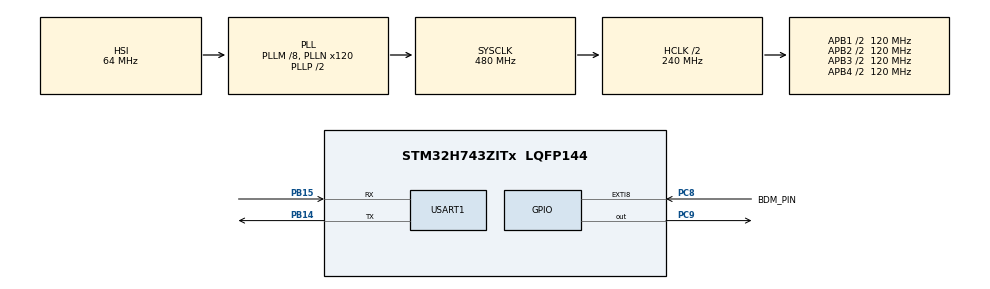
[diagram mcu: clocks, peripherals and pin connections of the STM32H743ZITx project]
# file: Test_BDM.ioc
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Dma.Request0=USART1_TX
Dma.USART1_TX.0.Direction=DMA_MEMORY_TO_PERIPH
Dma.USART1_TX.0.EventEnable=DISABLE
Dma.USART1_TX.0.FIFOMode=DMA_FIFOMODE_DISABLE
Dma.USART1_TX.0.Instance=DMA1_Stream0
Dma.USART1_TX.0.MemDataAlignment=DMA_MDATAALIGN_BYTE
Dma.USART1_TX.0.MemInc=DMA_MINC_ENABLE
Dma.USART1_TX.0.Mode=DMA_NORMAL
Dma.USART1_TX.0.PeriphDataAlignment=DMA_PDATAALIGN_BYTE
Dma.USART1_TX.0.PeriphInc=DMA_PINC_DISABLE
Dma.USART1_TX.0.Polarity=HAL_DMAMUX_REQ_GEN_RISING
Dma.USART1_TX.0.Priority=DMA_PRIORITY_LOW
Dma.USART1_TX.0.RequestNumber=1
Dma.USART1_TX.0.SignalID=NONE
Dma.USART1_TX.0.SyncEnable=DISABLE
Dma.USART1_TX.0.SyncPolarity=HAL_DMAMUX_SYNC_NO_EVENT
Dma.USART1_TX.0.SyncRequestNumber=1
Dma.USART1_TX.0.SyncSignalID=NONE
Mcu.Family=STM32H7
Mcu.Name=STM32H743ZITx
Mcu.Package=LQFP144
NVIC.DMA1_Stream0_IRQn=true\:0\:0\:false\:false\:true\:false\:true
NVIC.EXTI9_5_IRQn=true\:0\:0\:false\:false\:true\:true\:true
NVIC.PriorityGroup=NVIC_PRIORITYGROUP_4
NVIC.USART1_IRQn=true\:0\:0\:false\:false\:true\:true\:true
PA13\ (JTMS/SWDIO).Mode=Serial_Wire
PA13\ (JTMS/SWDIO).Signal=DEBUG_JTMS-SWDIO
PA14\ (JTCK/SWCLK).Mode=Serial_Wire
PA14\ (JTCK/SWCLK).Signal=DEBUG_JTCK-SWCLK
PB14.Mode=Asynchronous
PB14.Signal=USART1_TX
PB15.Mode=Asynchronous
PB15.Signal=USART1_RX
PC8.GPIO_Label=BDM_PIN
PC8.GPIO_ModeDefaultEXTI=GPIO_MODE_IT_RISING_FALLING
PC8.Signal=GPXTI8
PC9.GPIO_Speed=GPIO_SPEED_FREQ_VERY_HIGH
PC9.Signal=GPIO_Output
ProjectManager.HeapSize=0x200
ProjectManager.StackSize=0x400
ProjectManager.TargetToolchain=MDK-ARM V5.32
RCC.ADCFreq_Value=129000000
RCC.APB1Freq_Value=120000000
RCC.APB2Freq_Value=120000000
RCC.APB3Freq_Value=120000000
RCC.APB4Freq_Value=120000000
RCC.CortexFreq_Value=480000000
RCC.D1PPRE=RCC_APB3_DIV2
RCC.D2PPRE1=RCC_APB1_DIV2
RCC.D2PPRE2=RCC_APB2_DIV2
RCC.D3PPRE=RCC_APB4_DIV2
RCC.DIVM1=8
RCC.DIVN1=120
RCC.HCLKFreq_Value=240000000
RCC.HPRE=RCC_HCLK_DIV2
RCC.SYSCLKFreq_VALUE=480000000
RCC.SYSCLKSource=RCC_SYSCLKSOURCE_PLLCLK
RCC.USBFreq_Value=480000000
USART1.VirtualMode-Asynchronous=VM_ASYNC
VP_TIM2_VS_ClockSourceINT.Mode=Internal
board=custom

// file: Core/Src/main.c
/* USER CODE BEGIN Header */
/**
  ******************************************************************************
  * @file           : main.c
  * @brief          : Main program body
  ******************************************************************************
  * @attention
  *
  * <h2><center>&copy; Copyright (c) 2021 STMicroelectronics.
  * All rights reserved.</center></h2>
  *
  * This software component is licensed by ST under BSD 3-Clause license,
  * the "License"; You may not use this file except in compliance with the
  * License. You may obtain a copy of the License at:
  *                        opensource.org/licenses/BSD-3-Clause
  *
  ******************************************************************************
  */
/* USER CODE END Header */
#include "main.h"
#include "string.h"
#include "stdio.h"

/* USER CODE BEGIN PM */
volatile uint32_t bdm_ext[10] = {0};
volatile uint8_t enable_sync = 0;
volatile uint8_t bdm_wait_ack = 0;
volatile uint8_t bdm_wait_rx = 0;
volatile uint32_t bdm_wait_rx_time = 0;

volatile uint32_t sync_time_captured = 0;
volatile uint32_t delay_1TC, delay_4TC, delay_10TC, delay_12TC, delay_end;

uint8_t bdm_data[10] = {0};
volatile uint32_t temp[24];

uint8_t uart_tx_msg[20] = "Hello test Dien!\n";
/* USER CODE END PM */

TIM_HandleTypeDef htim2;

UART_HandleTypeDef huart1;
DMA_HandleTypeDef hdma_usart1_tx;

void SystemClock_Config(void);
static void MX_GPIO_Init(void);
static void MX_TIM2_Init(void);
static void MX_DMA_Init(void);
static void MX_USART1_UART_Init(void);

/* USER CODE BEGIN 0 */
void HAL_GPIO_EXTI_Callback(uint16_t GPIO_Pin)
{
  /* Prevent unused argument(s) compilation warning */
  UNUSED(GPIO_Pin);

  /* NOTE: This function Should not be modified, when the callback is needed,
           the HAL_GPIO_EXTI_Callback could be implemented in the user file
   */
	static uint8_t count = 0;

	if(enable_sync) {
		bdm_ext[count] = __HAL_TIM_GetCounter(&htim2);
		count++;

		if(count > 2) {
			sync_time_captured = bdm_ext[2] - bdm_ext[1];
//			sync_time_captured = sync_time_captured/128;
			delay_1TC = sync_time_captured / 128;
			delay_4TC = (sync_time_captured + 16) /32;
			delay_12TC = delay_4TC * 3;
			delay_10TC = delay_4TC * 5 /2;
			delay_end = sync_time_captured /8;
			enable_sync = 0;
			count = 0;
		}
	}
	if(bdm_wait_ack) {	//wait for ack
		if(HAL_GPIO_ReadPin(BDM_PIN_GPIO_Port, GPIO_PIN_8)) {
			bdm_wait_ack = 0;
		}
	}
	if(bdm_wait_rx) {
		bdm_wait_rx_time = __HAL_TIM_GetCounter(&htim2);
		bdm_wait_rx = 0;
	}
}

static __inline void delay4TC() {
	//reset counter
	__HAL_TIM_SetCounter(&htim2, 0);
	while(__HAL_TIM_GetCounter(&htim2) < delay_4TC);
}

static __inline void delay12TC() {
	//reset counter
	__HAL_TIM_SetCounter(&htim2, 0);
	while(__HAL_TIM_GetCounter(&htim2) < delay_12TC);
}

static __inline void delay1024TC() {
	//reset counter
	__HAL_TIM_SetCounter(&htim2, 0);
	while(__HAL_TIM_GetCounter(&htim2) < sync_time_captured * 8);
}

static __inline void bdm_pin_cfg_ext() {
//	GPIO_InitTypeDef GPIO_InitStruct = {0};
//	/*Configure GPIO pin : BDM_PIN_Pin */
//	GPIO_InitStruct.Pin = BDM_PIN_Pin;
//	GPIO_InitStruct.Mode = GPIO_MODE_IT_RISING_FALLING;
//	GPIO_InitStruct.Pull = GPIO_NOPULL;
//	HAL_GPIO_Init(BDM_PIN_GPIO_Port, &GPIO_InitStruct);
	GPIOC->MODER &= ~(1<<16); 		//PC8
	/* EXTI interrupt init*/
//	HAL_NVIC_SetPriority(EXTI9_5_IRQn, 0, 0);
//	HAL_NVIC_EnableIRQ(EXTI9_5_IRQn);
}

static __inline void bdm_pin_cfg_ext_rising() {
	GPIO_InitTypeDef GPIO_InitStruct = {0};
	/*Configure GPIO pin : BDM_PIN_Pin */
	GPIO_InitStruct.Pin = BDM_PIN_Pin;
	GPIO_InitStruct.Mode = GPIO_MODE_IT_RISING;
	GPIO_InitStruct.Pull = GPIO_NOPULL;
	HAL_GPIO_Init(BDM_PIN_GPIO_Port, &GPIO_InitStruct);

	/* EXTI interrupt init*/
	HAL_NVIC_SetPriority(EXTI9_5_IRQn, 0, 0);
	HAL_NVIC_EnableIRQ(EXTI9_5_IRQn);
}

static __inline void bdm_pin_cfg_highZ() {
//	HAL_GPIO_DeInit(BDM_PIN_GPIO_Port, BDM_PIN_Pin);
	GPIO_InitTypeDef GPIO_InitStruct = {0};
	GPIO_InitStruct.Pin = BDM_PIN_Pin;
	GPIO_InitStruct.Mode = GPIO_MODE_INPUT;
	GPIO_InitStruct.Pull = GPIO_NOPULL;
	HAL_GPIO_Init(BDM_PIN_GPIO_Port, &GPIO_InitStruct);
}

static __inline void bdm_pin_cfg_output() {
//	HAL_GPIO_WritePin(BDM_PIN_GPIO_Port, BDM_PIN_Pin, GPIO_PIN_SET);
//
//	GPIO_InitTypeDef GPIO_InitStruct = {0};
//	GPIO_InitStruct.Pin = BDM_PIN_Pin;
//	GPIO_InitStruct.Mode = GPIO_MODE_OUTPUT_PP;
//	GPIO_InitStruct.Pull = GPIO_NOPULL;
//	GPIO_InitStruct.Speed = GPIO_SPEED_FREQ_VERY_HIGH;
//	HAL_GPIO_Init(BDM_PIN_GPIO_Port, &GPIO_InitStruct);
//	HAL_NVIC_DisableIRQ(EXTI9_5_IRQn);
	GPIOC->MODER |= (1<<16); 		//PC8
	GPIOC->OTYPER &= ~(1<<8);
	GPIOC->OSPEEDR |= (3<<16);
}

static void bdm_sync(uint8_t sync_enable) {
	bdm_pin_cfg_output();
	//set low for 1ms
	HAL_GPIO_WritePin(BDM_PIN_GPIO_Port, BDM_PIN_Pin, GPIO_PIN_RESET);
	HAL_Delay(2);
	enable_sync = sync_enable;

	//reset counter
	__HAL_TIM_SetCounter(&htim2, 0);

	//tongle high
	HAL_GPIO_WritePin(BDM_PIN_GPIO_Port, BDM_PIN_Pin, GPIO_PIN_SET);
	//wait sync
	bdm_pin_cfg_ext();

	//wait sync success
	if(enable_sync)
		while(enable_sync);
	else
		HAL_Delay(1);
}

static __inline void bdm_tx_1() {
	//pull low
	HAL_GPIO_WritePin(BDM_PIN_GPIO_Port, BDM_PIN_Pin, GPIO_PIN_RESET);
	//reset counter
	__HAL_TIM_SetCounter(&htim2, 0);

	//delay 4 TC
	while(__HAL_TIM_GetCounter(&htim2) <= delay_4TC);

	//pull high
	HAL_GPIO_WritePin(BDM_PIN_GPIO_Port, BDM_PIN_Pin, GPIO_PIN_SET);

	//delay 12 TC
	while(__HAL_TIM_GetCounter(&htim2) <= delay_end);
}

static __inline void bdm_tx_0() {
	//pull low
	HAL_GPIO_WritePin(BDM_PIN_GPIO_Port, BDM_PIN_Pin, GPIO_PIN_RESET);
	//reset counter
	__HAL_TIM_SetCounter(&htim2, 0);

	//delay 12 TC
	while(__HAL_TIM_GetCounter(&htim2) <= delay_12TC);

	//pull high
	HAL_GPIO_WritePin(BDM_PIN_GPIO_Port, BDM_PIN_Pin, GPIO_PIN_SET);

	//delay 4 TC
	while(__HAL_TIM_GetCounter(&htim2) <= delay_end);
}

static __inline uint8_t bdm_rx() {/*Configure GPIO pin : PC9 */
	uint8_t ret = 0;
	//pull low
	//reset counter
	__HAL_TIM_SetCounter(&htim2, 0);

	bdm_pin_cfg_output();
	HAL_GPIO_WritePin(BDM_PIN_GPIO_Port, BDM_PIN_Pin, GPIO_PIN_RESET);

	//delay 4 TC
	while(__HAL_TIM_GetCounter(&htim2) <= delay_4TC);

	//test 1
	bdm_wait_rx = 1;
	bdm_pin_cfg_ext();
	while(bdm_wait_rx == 1);

	if(bdm_wait_rx_time < delay_12TC) {
		ret = 1;
	}

	//wait to end
	while(__HAL_TIM_GetCounter(&htim2) <= delay_end);

	return ret;
}

void bdm_send(uint8_t command, uint8_t ack) {
	/*Configure GPIO pin*/
	bdm_pin_cfg_output();

	for(uint8_t i=0; i<8; i++) {	//shift bit
		if(command & 0x80)
            bdm_tx_1();
        else
            bdm_tx_0();
        command = command << 1;
	}

	bdm_pin_cfg_ext();

	if(ack) {
		bdm_wait_ack = 1;
		while(bdm_wait_ack);
		//delay a bit
		__HAL_TIM_SetCounter(&htim2, 0);
		while(__HAL_TIM_GetCounter(&htim2) <= delay_end);
	}
}

void bdm_read(uint8_t *byte, uint8_t len) {
	memset(byte, 0, len);
	int x, i = 0;
	for(x = 0; x < len; x++) {
		for(i = 0; i <= 7; i++) {
			byte[x] |= (bdm_rx() << (7-i));
		}
	}
}

void bdm_soft_reset() {
	bdm_pin_cfg_output();
	//	HAL_GPIO_WritePin(BDM_PIN_GPIO_Port, BDM_PIN_Pin, GPIO_PIN_RESET);
	HAL_Delay(220);

	//tongle high
	HAL_GPIO_WritePin(BDM_PIN_GPIO_Port, BDM_PIN_Pin, GPIO_PIN_SET);

	//wait sync
	bdm_pin_cfg_ext();
	HAL_Delay(110);
}

void bdm_start() {
	bdm_sync(1);
	delay1024TC();
	bdm_send(0xD5, 1);	//ACK_ENABLE
	bdm_send(0xE4, 0);	//READ_BD_BYTE
	bdm_send(0xFF, 0);
	bdm_send(0x01, 1);
	bdm_read(bdm_data, 2);
	delay1024TC();

	if(bdm_data[1] == 0x80) {
		sprintf((char *)uart_tx_msg, "bdm_start ready\n");
		HAL_UART_Transmit(&huart1, uart_tx_msg, strlen((char *)uart_tx_msg), 1000);
		HAL_Delay(100);
	} else {
		sprintf((char *)uart_tx_msg, "bdm_start fail 0x%02X%02X\n", bdm_data[0], bdm_data[1]);
		HAL_UART_Transmit(&huart1, uart_tx_msg, strlen((char *)uart_tx_msg), 1000);
		HAL_Delay(100);
	}
}

void bdm_read_address(uint16_t address) {
	delay1024TC();
	bdm_send(0xD5, 1);	//ACK_ENABLE
	bdm_send(0xE8, 0);	//READ_BD_BYTE
	bdm_send(address >> 8, 0);
	bdm_send(address & 0xFF, 1);
	bdm_read(bdm_data, 2);
//	HAL_UART_Transmit_DMA(&huart1, bdm_data, 2);
}

/* USER CODE END 0 */

int main(void)
{

  /* MCU Configuration--------------------------------------------------------*/

  /* Reset of all peripherals, Initializes the Flash interface and the Systick. */
  HAL_Init();

  /* Configure the system clock */
  SystemClock_Config();

  /* USER CODE BEGIN SysInit */
	static uint16_t address = 0x00;
	static uint16_t address_e = 0xFFF0;
  /* USER CODE END SysInit */

  /* Initialize all configured peripherals */
  MX_GPIO_Init();
  MX_TIM2_Init();
  MX_DMA_Init();
  MX_USART1_UART_Init();
  /* USER CODE BEGIN 2 */
  HAL_TIM_Base_Start(&htim2);

	HAL_UART_Transmit(&huart1, uart_tx_msg, strlen((char *)uart_tx_msg), 100);
	HAL_Delay(10);

//	bdm_pin_reset();
	bdm_pin_cfg_output();
	//set low for 1ms
	HAL_GPIO_WritePin(BDM_PIN_GPIO_Port, BDM_PIN_Pin, GPIO_PIN_SET);
	HAL_Delay(1000);

	bdm_start();
	bdm_soft_reset();

	bdm_start();
	HAL_Delay(20);

	while(address <= address_e) {
		sprintf((char *)uart_tx_msg, "addr %04X: ", address);
		HAL_UART_Transmit(&huart1, uart_tx_msg, strlen((char *)uart_tx_msg), 1000);
		bdm_sync(0);
		bdm_read_address(address);
		sprintf((char *)uart_tx_msg, "%02X%02X\n", bdm_data[0], bdm_data[1]);
		HAL_UART_Transmit(&huart1, uart_tx_msg, strlen((char *)uart_tx_msg), 1000);
		address +=2;
	}

  /* USER CODE END 2 */

  /* Infinite loop */
  while (1)
  {

    /* USER CODE BEGIN 3 */
	  HAL_GPIO_WritePin(GPIOC, GPIO_PIN_9, GPIO_PIN_RESET);
	  HAL_Delay(1);
	  HAL_GPIO_WritePin(GPIOC, GPIO_PIN_9, GPIO_PIN_SET);
	  HAL_Delay(1);
  }
  /* USER CODE END 3 */
}

void SystemClock_Config(void)
{
  RCC_OscInitTypeDef RCC_OscInitStruct = {0};
  RCC_ClkInitTypeDef RCC_ClkInitStruct = {0};

  /** Supply configuration update enable
  */
  HAL_PWREx_ConfigSupply(PWR_LDO_SUPPLY);
  /** Configure the main internal regulator output voltage
  */
  __HAL_PWR_VOLTAGESCALING_CONFIG(PWR_REGULATOR_VOLTAGE_SCALE0);

  while(!__HAL_PWR_GET_FLAG(PWR_FLAG_VOSRDY)) {}
  /** Initializes the RCC Oscillators according to the specified parameters
  * in the RCC_OscInitTypeDef structure.
  */
  RCC_OscInitStruct.OscillatorType = RCC_OSCILLATORTYPE_HSI;
  RCC_OscInitStruct.HSIState = RCC_HSI_DIV1;
  RCC_OscInitStruct.HSICalibrationValue = RCC_HSICALIBRATION_DEFAULT;
  RCC_OscInitStruct.PLL.PLLState = RCC_PLL_ON;
  RCC_OscInitStruct.PLL.PLLSource = RCC_PLLSOURCE_HSI;
  RCC_OscInitStruct.PLL.PLLM = 8;
  RCC_OscInitStruct.PLL.PLLN = 120;
  RCC_OscInitStruct.PLL.PLLP = 2;
  RCC_OscInitStruct.PLL.PLLQ = 2;
  RCC_OscInitStruct.PLL.PLLR = 2;
  RCC_OscInitStruct.PLL.PLLRGE = RCC_PLL1VCIRANGE_3;
  RCC_OscInitStruct.PLL.PLLVCOSEL = RCC_PLL1VCOWIDE;
  RCC_OscInitStruct.PLL.PLLFRACN = 0;
  if (HAL_RCC_OscConfig(&RCC_OscInitStruct) != HAL_OK)
  {
    Error_Handler();
  }
  /** Initializes the CPU, AHB and APB buses clocks
  */
  RCC_ClkInitStruct.ClockType = RCC_CLOCKTYPE_HCLK|RCC_CLOCKTYPE_SYSCLK
                              |RCC_CLOCKTYPE_PCLK1|RCC_CLOCKTYPE_PCLK2
                              |RCC_CLOCKTYPE_D3PCLK1|RCC_CLOCKTYPE_D1PCLK1;
  RCC_ClkInitStruct.SYSCLKSource = RCC_SYSCLKSOURCE_PLLCLK;
  RCC_ClkInitStruct.SYSCLKDivider = RCC_SYSCLK_DIV1;
  RCC_ClkInitStruct.AHBCLKDivider = RCC_HCLK_DIV2;
  RCC_ClkInitStruct.APB3CLKDivider = RCC_APB3_DIV2;
  RCC_ClkInitStruct.APB1CLKDivider = RCC_APB1_DIV2;
  RCC_ClkInitStruct.APB2CLKDivider = RCC_APB2_DIV2;
  RCC_ClkInitStruct.APB4CLKDivider = RCC_APB4_DIV2;

  if (HAL_RCC_ClockConfig(&RCC_ClkInitStruct, FLASH_LATENCY_4) != HAL_OK)
  {
    Error_Handler();
  }
}

static void MX_TIM2_Init(void)
{

  TIM_ClockConfigTypeDef sClockSourceConfig = {0};
  TIM_MasterConfigTypeDef sMasterConfig = {0};

  htim2.Instance = TIM2;
  htim2.Init.Prescaler = 0;
  htim2.Init.CounterMode = TIM_COUNTERMODE_UP;
  htim2.Init.Period = 65535;
  htim2.Init.ClockDivision = TIM_CLOCKDIVISION_DIV1;
  htim2.Init.AutoReloadPreload = TIM_AUTORELOAD_PRELOAD_ENABLE;
  if (HAL_TIM_Base_Init(&htim2) != HAL_OK)
  {
    Error_Handler();
  }
  sClockSourceConfig.ClockSource = TIM_CLOCKSOURCE_INTERNAL;
  if (HAL_TIM_ConfigClockSource(&htim2, &sClockSourceConfig) != HAL_OK)
  {
    Error_Handler();
  }
  sMasterConfig.MasterOutputTrigger = TIM_TRGO_RESET;
  sMasterConfig.MasterSlaveMode = TIM_MASTERSLAVEMODE_DISABLE;
  if (HAL_TIMEx_MasterConfigSynchronization(&htim2, &sMasterConfig) != HAL_OK)
  {
    Error_Handler();
  }

}

static void MX_USART1_UART_Init(void)
{

  huart1.Instance = USART1;
  huart1.Init.BaudRate = 115200;
  huart1.Init.WordLength = UART_WORDLENGTH_8B;
  huart1.Init.StopBits = UART_STOPBITS_1;
  huart1.Init.Parity = UART_PARITY_NONE;
  huart1.Init.Mode = UART_MODE_TX_RX;
  huart1.Init.HwFlowCtl = UART_HWCONTROL_NONE;
  huart1.Init.OverSampling = UART_OVERSAMPLING_16;
  huart1.Init.OneBitSampling = UART_ONE_BIT_SAMPLE_DISABLE;
  huart1.Init.ClockPrescaler = UART_PRESCALER_DIV1;
  huart1.AdvancedInit.AdvFeatureInit = UART_ADVFEATURE_NO_INIT;
  if (HAL_UART_Init(&huart1) != HAL_OK)
  {
    Error_Handler();
  }
  if (HAL_UARTEx_SetTxFifoThreshold(&huart1, UART_TXFIFO_THRESHOLD_1_8) != HAL_OK)
  {
    Error_Handler();
  }
  if (HAL_UARTEx_SetRxFifoThreshold(&huart1, UART_RXFIFO_THRESHOLD_1_8) != HAL_OK)
  {
    Error_Handler();
  }
  if (HAL_UARTEx_DisableFifoMode(&huart1) != HAL_OK)
  {
    Error_Handler();
  }

}

static void MX_DMA_Init(void)
{

  /* DMA controller clock enable */
  __HAL_RCC_DMA1_CLK_ENABLE();

  /* DMA interrupt init */
  /* DMA1_Stream0_IRQn interrupt configuration */
  HAL_NVIC_SetPriority(DMA1_Stream0_IRQn, 0, 0);
  HAL_NVIC_EnableIRQ(DMA1_Stream0_IRQn);

}

static void MX_GPIO_Init(void)
{
  GPIO_InitTypeDef GPIO_InitStruct = {0};

  /* GPIO Ports Clock Enable */
  __HAL_RCC_GPIOB_CLK_ENABLE();
  __HAL_RCC_GPIOC_CLK_ENABLE();
  __HAL_RCC_GPIOA_CLK_ENABLE();

  /*Configure GPIO pin Output Level */
  HAL_GPIO_WritePin(GPIOC, GPIO_PIN_9, GPIO_PIN_RESET);
  HAL_GPIO_WritePin(BDM_PIN_GPIO_Port, BDM_PIN_Pin, GPIO_PIN_SET);

  /*Configure GPIO pin : BDM_PIN_Pin */
  GPIO_InitStruct.Pin = BDM_PIN_Pin;
  GPIO_InitStruct.Mode = GPIO_MODE_IT_RISING_FALLING;
  GPIO_InitStruct.Pull = GPIO_NOPULL;
  HAL_GPIO_Init(BDM_PIN_GPIO_Port, &GPIO_InitStruct);

  /*Configure GPIO pin : PC9 */
  GPIO_InitStruct.Pin = GPIO_PIN_9;
  GPIO_InitStruct.Mode = GPIO_MODE_OUTPUT_PP;
  GPIO_InitStruct.Pull = GPIO_NOPULL;
  GPIO_InitStruct.Speed = GPIO_SPEED_FREQ_VERY_HIGH;
  HAL_GPIO_Init(GPIOC, &GPIO_InitStruct);

  /* EXTI interrupt init*/
  HAL_NVIC_SetPriority(EXTI9_5_IRQn, 0, 0);
  HAL_NVIC_EnableIRQ(EXTI9_5_IRQn);

}

void Error_Handler(void)
{
  __disable_irq();
  while (1)
  {
  }
}

/************************ (C) COPYRIGHT STMicroelectronics *****END OF FILE****/
